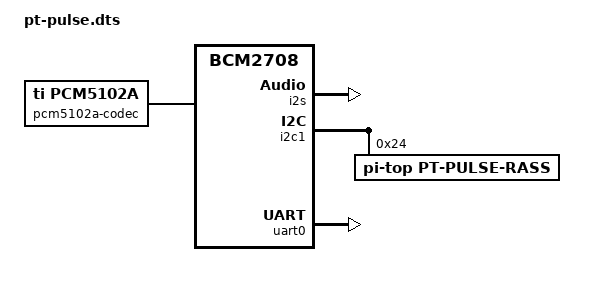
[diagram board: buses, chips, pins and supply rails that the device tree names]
// Definitions for pi-topPULSE
/dts-v1/;
/plugin/;

/ {
    compatible = "brcm,bcm2708";


    /* Taken from hifiberry-dac-overlay.dts */
    fragment@0 {
        target = <&i2s>;
        __overlay__ {
            status = "okay";
        };
    };


    fragment@1 {
        target-path = "/";
        __overlay__ {
            pcm5102a-codec {
                #sound-dai-cells = <0>;
                compatible = "ti,pcm5102a";
                status = "okay";
            };
        };
    };


    fragment@2 {
        target = <&sound>;
        __overlay__ {
            compatible = "pi-top,pt-pulse";
            i2s-controller = <&i2s>;
            status = "okay";
        };
    };


    /* Modified from rpi-sense.dts */
    /* (We use the same chip) */
    fragment@3 {
        target = <&i2c1>;
        __overlay__ {
            #address-cells = <1>;
            #size-cells = <0>;
            status = "okay";

            pt-pulse-rass@24 {
                compatible = "pi-top,pt-pulse-rass";
                reg = <0x24>;
                status = "okay";
            };
        };
    };


    /* Taken from pi3-disable-bt-overlay.dts/pi3-miniuart-bt-overlay.dts */
    fragment@4 {
        target = <&uart0>;
        __overlay__ {
            pinctrl-names = "default";
            pinctrl-0 = <&uart0_pins>;
            status = "okay";
        };
    };


    /* Modified from pi3-miniuart-bt-overlay.dts */
    /* Function 4 for UART0; was previously 2 for UART1 */
    fragment@5 {
        target = <&uart0_pins>;
        __overlay__ {
        /*
            brcm,pins = <32 33>;
            brcm,function = <4>; /* alt0=UART0 */
            brcm,pull = <0 2>;
        */
            brcm,pins;
            brcm,function;
            brcm,pull;
        };
    };
};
